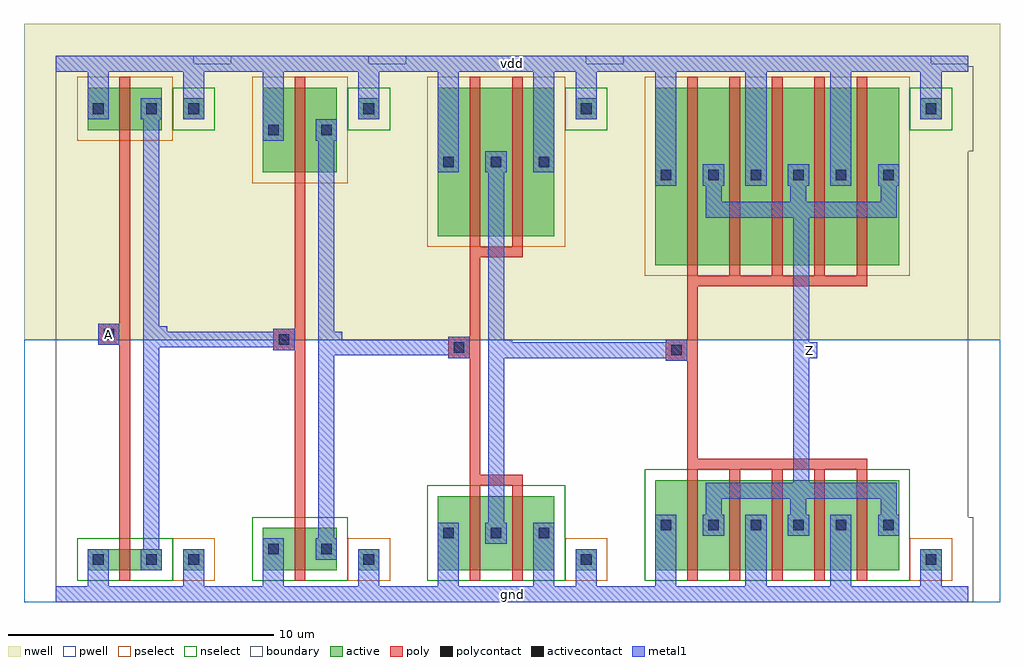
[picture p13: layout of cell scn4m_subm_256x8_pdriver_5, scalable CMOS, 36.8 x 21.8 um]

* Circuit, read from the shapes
.subckt scn4m_subm_256x8_pdriver_5 A Z gnd vdd
M1 scn4m_subm_256x8_pinv_14_1/A A gnd gnd nfet w=0.8u l=0.4u
M2 scn4m_subm_256x8_pinv_15_2/A scn4m_subm_256x8_pinv_14_1/A gnd gnd nfet w=1.6u l=0.4u
M3 scn4m_subm_256x8_pinv_16_3/A scn4m_subm_256x8_pinv_15_2/A gnd gnd nfet w=2.8u l=0.4u m=2
M4 Z scn4m_subm_256x8_pinv_16_3/A gnd gnd nfet w=3.4u l=0.4u m=5
M5 scn4m_subm_256x8_pinv_14_1/A A vdd vdd pfet w=1.6u l=0.4u
M6 scn4m_subm_256x8_pinv_15_2/A scn4m_subm_256x8_pinv_14_1/A vdd vdd pfet w=3.2u l=0.4u
M7 scn4m_subm_256x8_pinv_16_3/A scn4m_subm_256x8_pinv_15_2/A vdd vdd pfet w=5.6u l=0.4u m=2
M8 Z scn4m_subm_256x8_pinv_16_3/A vdd vdd pfet w=6.7u l=0.4u m=5
.ends

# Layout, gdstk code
import gdstk
lib = gdstk.Library(unit=1e-6, precision=1e-09)
def R(c, l, rs):  # rectangles x0, y0, x1, y1
    for r in rs: c.add(gdstk.rectangle(r[:2], r[2:], *l))
def A(c, l, x, y, w, h, nx, ny, dx, dy):  # array of equal rectangles
    R(c, l, [(x+i*dx, y+j*dy, x+i*dx+w, y+j*dy+h) for i in range(nx) for j in range(ny)])
pwell = (41, 0)
nwell = (42, 0)
active = (43, 0)
pselect = (44, 0)
nselect = (45, 0)
poly = (46, 0)
polycontact = (47, 0)
activecontact = (48, 0)
metal1 = (49, 0)
boundary = (63, 0)

scn4m_subm_256x8_contact = lib.new_cell('scn4m_subm_256x8_contact_12')
R(scn4m_subm_256x8_contact, nwell, [(-1.2,-1.2,2,2)])
R(scn4m_subm_256x8_contact, active, [(0,0,0.8,0.8)])
R(scn4m_subm_256x8_contact, pselect, [(-0.4,-0.4,1.2,1.2)])
R(scn4m_subm_256x8_contact, activecontact, [(0.2,0.2,0.6,0.6)])
R(scn4m_subm_256x8_contact, metal1, [(0,0,0.8,0.8)])
R(scn4m_subm_256x8_contact, boundary, [(-1.2,-1.2,2,2)])

scn4m_subm_256x8_pmos_m1 = lib.new_cell('scn4m_subm_256x8_pmos_m1_w1_600_sm1_dm1_da_p')
R(scn4m_subm_256x8_pmos_m1, nwell, [(-1.2,-1.2,4,2.8)])
R(scn4m_subm_256x8_pmos_m1, active, [(0,0,2.8,1.6)])
R(scn4m_subm_256x8_pmos_m1, pselect, [(-0.4,-0.4,3.2,2)])
R(scn4m_subm_256x8_pmos_m1, poly, [(1.2,-0.4,1.6,2), (1.2,-0.4,1.6,2)])
R(scn4m_subm_256x8_pmos_m1, metal1, [(0,0.4,0.8,1.2), (2,0.4,2.8,1.2)])
R(scn4m_subm_256x8_pmos_m1, boundary, [(-1.2,-1.2,4,2.8)])
scn4m_subm_256x8_pmos_m1.add(gdstk.Reference(scn4m_subm_256x8_contact, (0,0.4)))
scn4m_subm_256x8_pmos_m1.add(gdstk.Reference(scn4m_subm_256x8_contact, (2,0.4)))
scn4m_subm_256x8_pmos_m1.add(gdstk.Label('G', (1.4,0.8), layer=46, texttype=0))
scn4m_subm_256x8_pmos_m1.add(gdstk.Label('S', (0.4,0.8), layer=49, texttype=0))
scn4m_subm_256x8_pmos_m1.add(gdstk.Label('D', (2.4,0.8), layer=49, texttype=0))

c_scn4m_subm_256x8_contact = lib.new_cell('scn4m_subm_256x8_contact_11')
R(c_scn4m_subm_256x8_contact, pwell, [(-1.2,-1.2,2,2)])
R(c_scn4m_subm_256x8_contact, active, [(0,0,0.8,0.8)])
R(c_scn4m_subm_256x8_contact, nselect, [(-0.4,-0.4,1.2,1.2)])
R(c_scn4m_subm_256x8_contact, activecontact, [(0.2,0.2,0.6,0.6)])
R(c_scn4m_subm_256x8_contact, metal1, [(0,0,0.8,0.8)])
R(c_scn4m_subm_256x8_contact, boundary, [(-1.2,-1.2,2,2)])

scn4m_subm_256x8_nmos_m1 = lib.new_cell('scn4m_subm_256x8_nmos_m1_w0_800_sm1_dm1_da_p')
R(scn4m_subm_256x8_nmos_m1, pwell, [(-1.2,-1.2,4,2)])
R(scn4m_subm_256x8_nmos_m1, active, [(0,0,2.8,0.8)])
R(scn4m_subm_256x8_nmos_m1, nselect, [(-0.4,-0.4,3.2,1.2)])
R(scn4m_subm_256x8_nmos_m1, poly, [(1.2,-0.4,1.6,1.2), (1.2,-0.4,1.6,1.2)])
R(scn4m_subm_256x8_nmos_m1, metal1, [(0,0,0.8,0.8), (2,0,2.8,0.8)])
R(scn4m_subm_256x8_nmos_m1, boundary, [(-1.2,-1.2,4,2)])
scn4m_subm_256x8_nmos_m1.add(gdstk.Reference(c_scn4m_subm_256x8_contact, (0,0)))
scn4m_subm_256x8_nmos_m1.add(gdstk.Reference(c_scn4m_subm_256x8_contact, (2,0)))
scn4m_subm_256x8_nmos_m1.add(gdstk.Label('G', (1.4,0.4), layer=46, texttype=0))
scn4m_subm_256x8_nmos_m1.add(gdstk.Label('S', (0.4,0.4), layer=49, texttype=0))
scn4m_subm_256x8_nmos_m1.add(gdstk.Label('D', (2.4,0.4), layer=49, texttype=0))

c_scn4m_subm_256x8_contact_ = lib.new_cell('scn4m_subm_256x8_contact_13')
R(c_scn4m_subm_256x8_contact_, nwell, [(-1.2,-1.2,2,2)])
R(c_scn4m_subm_256x8_contact_, active, [(0,0,0.8,0.8)])
R(c_scn4m_subm_256x8_contact_, nselect, [(-0.4,-0.4,1.2,1.2)])
R(c_scn4m_subm_256x8_contact_, activecontact, [(0.2,0.2,0.6,0.6)])
R(c_scn4m_subm_256x8_contact_, metal1, [(0,0,0.8,0.8)])
R(c_scn4m_subm_256x8_contact_, boundary, [(-1.2,-1.2,2,2)])

c_scn4m_subm_256x8_contact__ = lib.new_cell('scn4m_subm_256x8_contact_14')
R(c_scn4m_subm_256x8_contact__, pwell, [(-1.2,-1.2,2,2)])
R(c_scn4m_subm_256x8_contact__, active, [(0,0,0.8,0.8)])
R(c_scn4m_subm_256x8_contact__, pselect, [(-0.4,-0.4,1.2,1.2)])
R(c_scn4m_subm_256x8_contact__, activecontact, [(0.2,0.2,0.6,0.6)])
R(c_scn4m_subm_256x8_contact__, metal1, [(0,0,0.8,0.8)])
R(c_scn4m_subm_256x8_contact__, boundary, [(-1.2,-1.2,2,2)])

c_scn4m_subm_256x8_contact___ = lib.new_cell('scn4m_subm_256x8_contact_15')
R(c_scn4m_subm_256x8_contact___, poly, [(0,0,0.8,0.8)])
R(c_scn4m_subm_256x8_contact___, polycontact, [(0.2,0.2,0.6,0.6)])
R(c_scn4m_subm_256x8_contact___, metal1, [(0,0,0.8,0.8)])
R(c_scn4m_subm_256x8_contact___, boundary, [(0,0,0.8,0.8)])

scn4m_subm_256x8_pinv_1 = lib.new_cell('scn4m_subm_256x8_pinv_1')
R(scn4m_subm_256x8_pinv_1, pwell, [(-1.2,-0.3,7.8,9.6)])
R(scn4m_subm_256x8_pinv_1, nwell, [(-1.2,9.6,7.8,21.5)])
R(scn4m_subm_256x8_pinv_1, poly, [(2.4,2.1,2.8,17.1), (2,9.4,2.4,10.2)])
R(scn4m_subm_256x8_pinv_1, metal1, [(0,-0.3,6.6,0.3), (1.2,-0.3,2,0.9), (4.8,0,5.6,1.3), (3.3,0.9,3.9,18.7), (1.6,9.4,2.4,10.2), (3.6,9.5,4.2,10.1), (1.2,17.9,2,20.3), (4.8,18.3,5.6,20), (0,19.7,6.6,20.3)])
R(scn4m_subm_256x8_pinv_1, boundary, [(0,0,6.6,20), (0,0,6.6,20)])
scn4m_subm_256x8_pinv_1.add(gdstk.Reference(scn4m_subm_256x8_pmos_m1, (1.2,17.5)))
scn4m_subm_256x8_pinv_1.add(gdstk.Reference(scn4m_subm_256x8_nmos_m1, (1.2,0.9)))
scn4m_subm_256x8_pinv_1.add(gdstk.Reference(c_scn4m_subm_256x8_contact_, (4.8,17.9)))
scn4m_subm_256x8_pinv_1.add(gdstk.Reference(c_scn4m_subm_256x8_contact__, (4.8,0.9)))
scn4m_subm_256x8_pinv_1.add(gdstk.Reference(c_scn4m_subm_256x8_contact___, (1.6,9.4)))
scn4m_subm_256x8_pinv_1.add(gdstk.Label('A', (2,9.8), layer=49, texttype=0))
scn4m_subm_256x8_pinv_1.add(gdstk.Label('Z', (3.9,9.8), layer=49, texttype=0))
scn4m_subm_256x8_pinv_1.add(gdstk.Label('gnd', (3.3,0), layer=49, texttype=0))
scn4m_subm_256x8_pinv_1.add(gdstk.Label('vdd', (3.3,20), layer=49, texttype=0))

c_scn4m_subm_256x8_pmos_m1 = lib.new_cell('scn4m_subm_256x8_pmos_m1_w3_200_sm1_dm1_da_p')
R(c_scn4m_subm_256x8_pmos_m1, nwell, [(-1.2,-1.2,4,4.4)])
R(c_scn4m_subm_256x8_pmos_m1, active, [(0,0,2.8,3.2)])
R(c_scn4m_subm_256x8_pmos_m1, pselect, [(-0.4,-0.4,3.2,3.6)])
R(c_scn4m_subm_256x8_pmos_m1, poly, [(1.2,-0.4,1.6,3.6), (1.2,-0.4,1.6,3.6)])
R(c_scn4m_subm_256x8_pmos_m1, metal1, [(0,1.2,0.8,2), (2,1.2,2.8,2)])
R(c_scn4m_subm_256x8_pmos_m1, boundary, [(-1.2,-1.2,4,4.4)])
c_scn4m_subm_256x8_pmos_m1.add(gdstk.Reference(scn4m_subm_256x8_contact, (0,1.2)))
c_scn4m_subm_256x8_pmos_m1.add(gdstk.Reference(scn4m_subm_256x8_contact, (2,1.2)))
c_scn4m_subm_256x8_pmos_m1.add(gdstk.Label('G', (1.4,1.6), layer=46, texttype=0))
c_scn4m_subm_256x8_pmos_m1.add(gdstk.Label('S', (0.4,1.6), layer=49, texttype=0))
c_scn4m_subm_256x8_pmos_m1.add(gdstk.Label('D', (2.4,1.6), layer=49, texttype=0))

c_scn4m_subm_256x8_nmos_m1 = lib.new_cell('scn4m_subm_256x8_nmos_m1_w1_600_sm1_dm1_da_p')
R(c_scn4m_subm_256x8_nmos_m1, pwell, [(-1.2,-1.2,4,2.8)])
R(c_scn4m_subm_256x8_nmos_m1, active, [(0,0,2.8,1.6)])
R(c_scn4m_subm_256x8_nmos_m1, nselect, [(-0.4,-0.4,3.2,2)])
R(c_scn4m_subm_256x8_nmos_m1, poly, [(1.2,-0.4,1.6,2), (1.2,-0.4,1.6,2)])
R(c_scn4m_subm_256x8_nmos_m1, metal1, [(0,0.4,0.8,1.2), (2,0.4,2.8,1.2)])
R(c_scn4m_subm_256x8_nmos_m1, boundary, [(-1.2,-1.2,4,2.8)])
c_scn4m_subm_256x8_nmos_m1.add(gdstk.Reference(c_scn4m_subm_256x8_contact, (0,0.4)))
c_scn4m_subm_256x8_nmos_m1.add(gdstk.Reference(c_scn4m_subm_256x8_contact, (2,0.4)))
c_scn4m_subm_256x8_nmos_m1.add(gdstk.Label('G', (1.4,0.8), layer=46, texttype=0))
c_scn4m_subm_256x8_nmos_m1.add(gdstk.Label('S', (0.4,0.8), layer=49, texttype=0))
c_scn4m_subm_256x8_nmos_m1.add(gdstk.Label('D', (2.4,0.8), layer=49, texttype=0))

scn4m_subm_256x8_pinv_14 = lib.new_cell('scn4m_subm_256x8_pinv_14')
R(scn4m_subm_256x8_pinv_14, pwell, [(-1.2,-0.3,7.8,9.6)])
R(scn4m_subm_256x8_pinv_14, nwell, [(-1.2,9.6,7.8,21.5)])
R(scn4m_subm_256x8_pinv_14, poly, [(2.4,2.9,2.8,15.5), (2,9.2,2.4,10)])
R(scn4m_subm_256x8_pinv_14, metal1, [(0,-0.3,6.6,0.3), (1.2,-0.3,2,1.3), (4.8,0,5.6,1.3), (3.3,1.3,3.9,17.9), (1.6,9.2,2.4,10), (3.6,9.3,4.2,9.9), (1.2,17.1,2,20.3), (4.8,18.3,5.6,20), (0,19.7,6.6,20.3)])
R(scn4m_subm_256x8_pinv_14, boundary, [(0,0,6.6,20), (0,0,6.6,20)])
scn4m_subm_256x8_pinv_14.add(gdstk.Reference(c_scn4m_subm_256x8_pmos_m1, (1.2,15.9)))
scn4m_subm_256x8_pinv_14.add(gdstk.Reference(c_scn4m_subm_256x8_nmos_m1, (1.2,0.9)))
scn4m_subm_256x8_pinv_14.add(gdstk.Reference(c_scn4m_subm_256x8_contact_, (4.8,17.9)))
scn4m_subm_256x8_pinv_14.add(gdstk.Reference(c_scn4m_subm_256x8_contact__, (4.8,0.9)))
scn4m_subm_256x8_pinv_14.add(gdstk.Reference(c_scn4m_subm_256x8_contact___, (1.6,9.2)))
scn4m_subm_256x8_pinv_14.add(gdstk.Label('A', (2,9.6), layer=49, texttype=0))
scn4m_subm_256x8_pinv_14.add(gdstk.Label('Z', (3.9,9.6), layer=49, texttype=0))
scn4m_subm_256x8_pinv_14.add(gdstk.Label('gnd', (3.3,0), layer=49, texttype=0))
scn4m_subm_256x8_pinv_14.add(gdstk.Label('vdd', (3.3,20), layer=49, texttype=0))

scn4m_subm_256x8_pmos_m2 = lib.new_cell('scn4m_subm_256x8_pmos_m2_w5_600_sm1_dm1_da_p')
R(scn4m_subm_256x8_pmos_m2, nwell, [(-1.2,-1.2,5.6,6.8)])
R(scn4m_subm_256x8_pmos_m2, active, [(0,0,4.4,5.6)])
R(scn4m_subm_256x8_pmos_m2, pselect, [(-0.4,-0.4,4.8,6)])
R(scn4m_subm_256x8_pmos_m2, poly, [(1.2,-0.8,3.2,-0.4), (1.2,-0.4,1.6,6), (2.8,-0.4,3.2,6)])
A(scn4m_subm_256x8_pmos_m2, metal1, 0, 2.4, 0.8, 0.8, 3, 1, 1.8, 0)
R(scn4m_subm_256x8_pmos_m2, boundary, [(-1.2,-1.2,5.6,6.8)])
scn4m_subm_256x8_pmos_m2.add(gdstk.Reference(scn4m_subm_256x8_contact, (0,2.4)))
scn4m_subm_256x8_pmos_m2.add(gdstk.Reference(scn4m_subm_256x8_contact, (1.8,2.4)))
scn4m_subm_256x8_pmos_m2.add(gdstk.Reference(scn4m_subm_256x8_contact, (3.6,2.4)))
scn4m_subm_256x8_pmos_m2.add(gdstk.Label('G', (2.2,-0.6), layer=46, texttype=0))
scn4m_subm_256x8_pmos_m2.add(gdstk.Label('S', (4,2.8), layer=49, texttype=0))
scn4m_subm_256x8_pmos_m2.add(gdstk.Label('S', (0.4,2.8), layer=49, texttype=0))
scn4m_subm_256x8_pmos_m2.add(gdstk.Label('D', (2.2,2.8), layer=49, texttype=0))

scn4m_subm_256x8_nmos_m2 = lib.new_cell('scn4m_subm_256x8_nmos_m2_w2_800_sm1_dm1_da_p')
R(scn4m_subm_256x8_nmos_m2, pwell, [(-1.2,-1.2,5.6,4)])
R(scn4m_subm_256x8_nmos_m2, active, [(0,0,4.4,2.8)])
R(scn4m_subm_256x8_nmos_m2, nselect, [(-0.4,-0.4,4.8,3.2)])
R(scn4m_subm_256x8_nmos_m2, poly, [(1.2,-0.4,1.6,3.2), (2.8,-0.4,3.2,3.2), (1.2,3.2,3.2,3.6)])
A(scn4m_subm_256x8_nmos_m2, metal1, 0, 1, 0.8, 0.8, 3, 1, 1.8, 0)
R(scn4m_subm_256x8_nmos_m2, boundary, [(-1.2,-1.2,5.6,4)])
scn4m_subm_256x8_nmos_m2.add(gdstk.Reference(c_scn4m_subm_256x8_contact, (0,1)))
scn4m_subm_256x8_nmos_m2.add(gdstk.Reference(c_scn4m_subm_256x8_contact, (1.8,1)))
scn4m_subm_256x8_nmos_m2.add(gdstk.Reference(c_scn4m_subm_256x8_contact, (3.6,1)))
scn4m_subm_256x8_nmos_m2.add(gdstk.Label('G', (2.2,3.4), layer=46, texttype=0))
scn4m_subm_256x8_nmos_m2.add(gdstk.Label('S', (0.4,1.4), layer=49, texttype=0))
scn4m_subm_256x8_nmos_m2.add(gdstk.Label('S', (4,1.4), layer=49, texttype=0))
scn4m_subm_256x8_nmos_m2.add(gdstk.Label('D', (2.2,1.4), layer=49, texttype=0))

scn4m_subm_256x8_pinv_15 = lib.new_cell('scn4m_subm_256x8_pinv_15')
R(scn4m_subm_256x8_pinv_15, pwell, [(-1.2,-0.3,9.4,9.6)])
R(scn4m_subm_256x8_pinv_15, nwell, [(-1.2,9.6,9.4,21.5)])
R(scn4m_subm_256x8_pinv_15, poly, [(2.4,4.5,2.8,12.7), (2,8.9,2.4,9.7)])
R(scn4m_subm_256x8_pinv_15, metal1, [(0,-0.3,8.2,0.3), (1.2,-0.3,2,1.9), (4.8,-0.3,5.6,1.9), (6.4,0,7.2,1.3), (3.1,1.9,3.7,16.7), (1.6,8.9,2.4,9.7), (3.4,9,4,9.6), (1.2,15.9,2,20.3), (4.8,15.9,5.6,20.3), (6.4,18.3,7.2,20), (0,19.7,8.2,20.3)])
R(scn4m_subm_256x8_pinv_15, boundary, [(0,0,8.2,20), (0,0,8.2,20)])
scn4m_subm_256x8_pinv_15.add(gdstk.Reference(scn4m_subm_256x8_pmos_m2, (1.2,13.5)))
scn4m_subm_256x8_pinv_15.add(gdstk.Reference(scn4m_subm_256x8_nmos_m2, (1.2,0.9)))
scn4m_subm_256x8_pinv_15.add(gdstk.Reference(c_scn4m_subm_256x8_contact_, (6.4,17.9)))
scn4m_subm_256x8_pinv_15.add(gdstk.Reference(c_scn4m_subm_256x8_contact__, (6.4,0.9)))
scn4m_subm_256x8_pinv_15.add(gdstk.Reference(c_scn4m_subm_256x8_contact___, (1.6,8.9)))
scn4m_subm_256x8_pinv_15.add(gdstk.Label('A', (2,9.3), layer=49, texttype=0))
scn4m_subm_256x8_pinv_15.add(gdstk.Label('Z', (3.7,9.3), layer=49, texttype=0))
scn4m_subm_256x8_pinv_15.add(gdstk.Label('gnd', (4.1,0), layer=49, texttype=0))
scn4m_subm_256x8_pinv_15.add(gdstk.Label('vdd', (4.1,20), layer=49, texttype=0))

scn4m_subm_256x8_pmos_m5 = lib.new_cell('scn4m_subm_256x8_pmos_m5_w6_700_sm1_dm1_da_p')
R(scn4m_subm_256x8_pmos_m5, nwell, [(-1.2,-1.2,10.4,7.9)])
R(scn4m_subm_256x8_pmos_m5, active, [(0,0,9.2,6.7)])
R(scn4m_subm_256x8_pmos_m5, pselect, [(-0.4,-0.4,9.6,7.1)])
A(scn4m_subm_256x8_pmos_m5, poly, 1.2, -0.4, 0.4, 7.5, 5, 1, 1.6, 0)
R(scn4m_subm_256x8_pmos_m5, poly, [(1.2,-0.8,8,-0.4)])
R(scn4m_subm_256x8_pmos_m5, metal1, [(1.9,1.8,9.1,2.4), (1.9,2,2.5,3.4), (5.1,2,5.7,3.4), (8.5,2,9.1,3.4), (0,3,0.8,3.8), (3.4,3,4.2,3.8), (6.6,3,7.4,3.8)])
R(scn4m_subm_256x8_pmos_m5, boundary, [(-1.2,-1.2,10.4,7.9)])
scn4m_subm_256x8_pmos_m5.add(gdstk.Reference(scn4m_subm_256x8_contact, (0,3)))
scn4m_subm_256x8_pmos_m5.add(gdstk.Reference(scn4m_subm_256x8_contact, (1.8,3)))
scn4m_subm_256x8_pmos_m5.add(gdstk.Reference(scn4m_subm_256x8_contact, (3.4,3)))
scn4m_subm_256x8_pmos_m5.add(gdstk.Reference(scn4m_subm_256x8_contact, (5,3)))
scn4m_subm_256x8_pmos_m5.add(gdstk.Reference(scn4m_subm_256x8_contact, (6.6,3)))
scn4m_subm_256x8_pmos_m5.add(gdstk.Reference(scn4m_subm_256x8_contact, (8.4,3)))
scn4m_subm_256x8_pmos_m5.add(gdstk.Label('G', (4.6,-0.6), layer=46, texttype=0))
scn4m_subm_256x8_pmos_m5.add(gdstk.Label('S', (3.8,3.4), layer=49, texttype=0))
scn4m_subm_256x8_pmos_m5.add(gdstk.Label('S', (0.4,3.4), layer=49, texttype=0))
scn4m_subm_256x8_pmos_m5.add(gdstk.Label('S', (7,3.4), layer=49, texttype=0))
scn4m_subm_256x8_pmos_m5.add(gdstk.Label('D', (5.5,2.1), layer=49, texttype=0))

scn4m_subm_256x8_nmos_m5 = lib.new_cell('scn4m_subm_256x8_nmos_m5_w3_400_sm1_dm1_da_p')
R(scn4m_subm_256x8_nmos_m5, pwell, [(-1.2,-1.2,10.4,4.6)])
R(scn4m_subm_256x8_nmos_m5, active, [(0,0,9.2,3.4)])
R(scn4m_subm_256x8_nmos_m5, nselect, [(-0.4,-0.4,9.6,3.8)])
A(scn4m_subm_256x8_nmos_m5, poly, 1.2, -0.4, 0.4, 4.2, 5, 1, 1.6, 0)
R(scn4m_subm_256x8_nmos_m5, poly, [(1.2,3.8,8,4.2)])
R(scn4m_subm_256x8_nmos_m5, metal1, [(0,1.3,0.8,2.1), (3.4,1.3,4.2,2.1), (6.6,1.3,7.4,2.1), (1.9,1.7,2.5,3), (5.1,1.7,5.7,3), (8.5,1.7,9.1,3), (1.9,2.7,9.1,3.3)])
R(scn4m_subm_256x8_nmos_m5, boundary, [(-1.2,-1.2,10.4,4.6)])
scn4m_subm_256x8_nmos_m5.add(gdstk.Reference(c_scn4m_subm_256x8_contact, (0,1.3)))
scn4m_subm_256x8_nmos_m5.add(gdstk.Reference(c_scn4m_subm_256x8_contact, (1.8,1.3)))
scn4m_subm_256x8_nmos_m5.add(gdstk.Reference(c_scn4m_subm_256x8_contact, (3.4,1.3)))
scn4m_subm_256x8_nmos_m5.add(gdstk.Reference(c_scn4m_subm_256x8_contact, (5,1.3)))
scn4m_subm_256x8_nmos_m5.add(gdstk.Reference(c_scn4m_subm_256x8_contact, (6.6,1.3)))
scn4m_subm_256x8_nmos_m5.add(gdstk.Reference(c_scn4m_subm_256x8_contact, (8.4,1.3)))
scn4m_subm_256x8_nmos_m5.add(gdstk.Label('G', (4.6,4), layer=46, texttype=0))
scn4m_subm_256x8_nmos_m5.add(gdstk.Label('S', (3.8,1.7), layer=49, texttype=0))
scn4m_subm_256x8_nmos_m5.add(gdstk.Label('S', (7,1.7), layer=49, texttype=0))
scn4m_subm_256x8_nmos_m5.add(gdstk.Label('S', (0.4,1.7), layer=49, texttype=0))
scn4m_subm_256x8_nmos_m5.add(gdstk.Label('D', (5.5,3), layer=49, texttype=0))

scn4m_subm_256x8_pinv_16 = lib.new_cell('scn4m_subm_256x8_pinv_16')
R(scn4m_subm_256x8_pinv_16, pwell, [(-1.2,-0.3,14.2,9.6)])
R(scn4m_subm_256x8_pinv_16, nwell, [(-1.2,9.6,14.2,21.5)])
R(scn4m_subm_256x8_pinv_16, poly, [(2.4,5.1,2.8,11.6), (2,8.8,2.4,9.6)])
R(scn4m_subm_256x8_pinv_16, metal1, [(0,-0.3,13,0.3), (1.2,-0.3,2,2.2), (4.6,-0.3,5.4,2.2), (7.8,-0.3,8.6,2.2), (11.2,0,12,1.3), (6.4,3.6,7,14.8), (1.6,8.8,2.4,9.6), (6.7,8.9,7.3,9.5), (1.2,15.4,2,20.3), (4.6,15.4,5.4,20.3), (7.8,15.4,8.6,20.3), (11.2,18.3,12,20), (0,19.7,13,20.3)])
R(scn4m_subm_256x8_pinv_16, boundary, [(0,0,13,20), (0,0,13,20)])
scn4m_subm_256x8_pinv_16.add(gdstk.Reference(scn4m_subm_256x8_pmos_m5, (1.2,12.4)))
scn4m_subm_256x8_pinv_16.add(gdstk.Reference(scn4m_subm_256x8_nmos_m5, (1.2,0.9)))
scn4m_subm_256x8_pinv_16.add(gdstk.Reference(c_scn4m_subm_256x8_contact_, (11.2,17.9)))
scn4m_subm_256x8_pinv_16.add(gdstk.Reference(c_scn4m_subm_256x8_contact__, (11.2,0.9)))
scn4m_subm_256x8_pinv_16.add(gdstk.Reference(c_scn4m_subm_256x8_contact___, (1.6,8.8)))
scn4m_subm_256x8_pinv_16.add(gdstk.Label('A', (2,9.2), layer=49, texttype=0))
scn4m_subm_256x8_pinv_16.add(gdstk.Label('Z', (7,9.2), layer=49, texttype=0))
scn4m_subm_256x8_pinv_16.add(gdstk.Label('gnd', (6.5,0), layer=49, texttype=0))
scn4m_subm_256x8_pinv_16.add(gdstk.Label('vdd', (6.5,20), layer=49, texttype=0))

scn4m_subm_256x8_pdriver = lib.new_cell('scn4m_subm_256x8_pdriver_5')
R(scn4m_subm_256x8_pdriver, pwell, [(-1.2,-0.3,35.6,9.6)])
R(scn4m_subm_256x8_pdriver, nwell, [(-1.2,9.6,35.6,21.5)])
R(scn4m_subm_256x8_pdriver, metal1, [(0,-0.3,34.4,0.3), (16.6,8.9,17.2,9.5), (16.9,8.9,23.4,9.5), (28.1,8.9,28.7,9.5), (10.2,9,10.8,9.6), (10.5,9,15.2,9.6), (16.6,9.2,17.2,9.3), (3.6,9.3,4.2,9.9), (3.9,9.3,8.6,9.9), (10.2,9.3,10.8,9.6), (1.6,9.4,2.4,10.2), (3.6,9.6,4.2,9.8), (0,19.7,34.4,20.3)])
R(scn4m_subm_256x8_pdriver, boundary, [(0,0,34.4,20), (0,0,34.4,20)])
scn4m_subm_256x8_pdriver.add(gdstk.Reference(scn4m_subm_256x8_pinv_1, (0,0)))
scn4m_subm_256x8_pdriver.add(gdstk.Reference(scn4m_subm_256x8_pinv_14, (6.6,0)))
scn4m_subm_256x8_pdriver.add(gdstk.Reference(scn4m_subm_256x8_pinv_15, (13.2,0)))
scn4m_subm_256x8_pdriver.add(gdstk.Reference(scn4m_subm_256x8_pinv_16, (21.4,0)))
scn4m_subm_256x8_pdriver.add(gdstk.Label('Z', (28.4,9.2), layer=49, texttype=0))
scn4m_subm_256x8_pdriver.add(gdstk.Label('A', (2,9.8), layer=49, texttype=0))
scn4m_subm_256x8_pdriver.add(gdstk.Label('gnd', (17.2,0), layer=49, texttype=0))
scn4m_subm_256x8_pdriver.add(gdstk.Label('vdd', (17.2,20), layer=49, texttype=0))

lib.write_gds('scn4m_subm_256x8_pdriver_5.gds')
